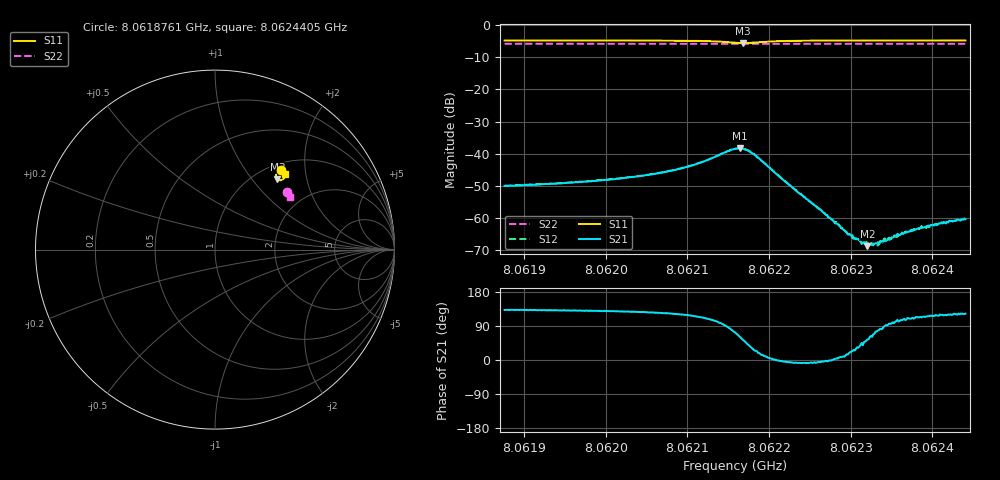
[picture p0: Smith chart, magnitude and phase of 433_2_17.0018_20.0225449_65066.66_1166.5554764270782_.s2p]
#  HZ  S  RI  R  50.00
! Rohde & Schwarz Vector Network Analyzer
! Rohde-Schwarz,ZNB20-2Port,1311601062101988,3.16
! Created: UTC 3/20/2024, 11:11:26 PM
! freq[Hz]  re:S11  im:S11  re:S21  im:S21  re:S12  im:S12  re:S22  im:S22
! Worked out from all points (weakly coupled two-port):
!   401 points, 8.0618761 GHz to 8.0624405 GHz, reference 50 ohm
!   highest |S21| = -38.32 dB at 8.062164 GHz (marker M1); lowest = -68.8 dB at 8.0623206 GHz (marker M2)
!   lowest |S11| = -5.6 dB at 8.0621682 GHz (marker M3), VSWR 3.20, Z = 62.6 + j67.7 ohm
!   |S11| at or under -10 dB: nowhere
!   |S22| runs from -5.9 to -5.8 dB; largest |S21 - S12| = 0.00095
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8.06187608e9  0.3691 0.4423  -0.0021 0.00233  -0.002 0.00249  0.4 0.319
8.06197062e9  0.376 0.4361  -0.00235 0.00279  -0.00222 0.00294  0.4037 0.3142
8.0620186e9  0.3797 0.4322  -0.00255 0.00324  -0.00238 0.00343  0.4053 0.3117
8.06206517e9  0.3841 0.4262  -0.00284 0.00411  -0.00259 0.00434  0.4071 0.3092
8.06210751e9  0.3879 0.416  -0.00293 0.00599  -0.00262 0.00622  0.4086 0.3067
8.06215831e9  0.3645 0.3863  0.00348 0.0113  0.00421 0.0112  0.4089 0.3031
8.06216395e9  0.3546 0.388  0.00576 0.0107  0.0064 0.0103  0.4087 0.3032
8.06216819e9  0.3478 0.392  0.00727 0.00953  0.00777 0.00913  0.4085 0.3032
8.06217665e9  0.3398 0.4051  0.00865 0.0063  0.00915 0.0059  0.4086 0.3035
8.06218512e9  0.3401 0.4182  0.00809 0.00349  0.00875 0.00281  0.4092 0.3037
8.06225285e9  0.3717 0.4346  0.00166 -0.000219  0.00166 -0.000305  0.4131 0.3007
8.06229519e9  0.3791 0.4316  0.000572 0.000152  0.000593 0.000116  0.4148 0.2985
8.06230507e9  0.3804 0.4309  0.000429 0.000201  0.000424 0.000211  0.4151 0.2979
8.06231494e9  0.3815 0.4302  0.000313 0.000253  0.00033 0.000277  0.4154 0.2973
8.06232059e9  0.3822 0.4298  0.000215 0.000294  0.000237 0.000343  0.4156 0.2971
8.06233188e9  0.3833 0.4291  9.82e-05 0.00039  0.000135 0.000359  0.416 0.2965
8.0623474e9  0.385 0.4279  -4.95e-05 0.000453  -3.6e-05 0.000493  0.4166 0.2958
8.0623601e9  0.3859 0.4273  -0.000126 0.000522  -0.000125 0.000539  0.4171 0.2951
8.06238832e9  0.3883 0.4253  -0.000287 0.000639  -0.000227 0.000687  0.4181 0.2937
8.06239397e9  0.3887 0.4251  -0.000318 0.00068  -0.000317 0.000673  0.4182 0.2933
8.06241373e9  0.3902 0.4239  -0.000395 0.000747  -0.000365 0.000779  0.419 0.2923
8.06244054e9  0.392 0.4223  -0.00051 0.000806  -0.000454 0.000866  0.42 0.2909
